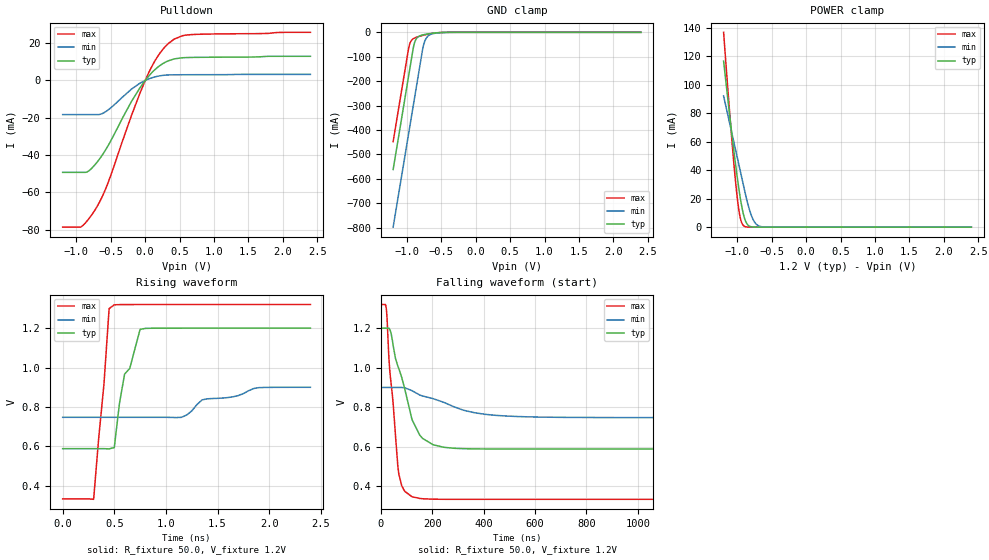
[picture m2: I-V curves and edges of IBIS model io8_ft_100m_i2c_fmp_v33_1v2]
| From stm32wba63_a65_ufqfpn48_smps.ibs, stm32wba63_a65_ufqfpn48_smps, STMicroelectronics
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[Model]   io8_ft_100m_i2c_fmp_v33_1v2
Model_type I/O_open_drain
Polarity   Non-Inverting
Enable   Active-Low
| CAP_THRESHOLD on pad IOFT is "UDTCAPC" :
| Rising=30.0% of vddiom   Falling=70.0% of vddiom
| C_comp min and max val. don't necessarily correlate with the min and max pvt
| but are the smallest and greatest pad capacitance found.
| var   typ   min   max
C_comp   2.88255pF  2.80651pF  2.98596pF
|C_comp_pulldown   2.88255pF  2.80651pF  2.98596pF
Vinl = 450.0mV
Vinh = 660.0mV
Vmeas = 600.0mV   | Reference voltage for timing measurements
Cref  = 50.0pF   | Timing specification test load capacitance value
Rref  = 1.0MOhm   | Timing specification test load resistance value
Vref  = 660.0mV   | Timing specification test load voltage
[Model Spec]
| TIME_THRESHOLD on pin ZII2CV11 is "CMOS" :
| Rising=50.0% of vdd   Falling=50.0% of vdd
Vinl 436.50000mV 331.50000mV 482.50000mV
Vinh 753.50000mV 549.50000mV 837.50000mV
| variable   typ   min   max
[Temperature Range] 25.0 140.0 -40.0
| variable   typ   min   max
[Voltage Range] 1.2V 900.0mV 1.32V
| variable   typ   min   max
[POWER Clamp Reference] 1.2V 900.0mV 1.32V
| variable   typ   min   max
[GND Clamp Reference] 0V 0V 0V
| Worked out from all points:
|   slope of the pulldown table from 0 to 0.18 V, typ, clamps not added: 25.7 ohm
|   GND clamp passes 1 mA (typ) near -0.51 V on its own axis
|   POWER clamp passes 1 mA (typ) near -0.83 V on its own axis
|   rising waveform, R_fixture 50.0, V_fixture 1.2V: 20-80 % time 165ps typ, 510ps min, 95.4ps max; typ from 0.588 V to 1.2 V
|   falling waveform, R_fixture 50.0, V_fixture 1.2V: 20-80 % time 78.7ns typ, 203ns min, 35.7ns max; typ from 1.2 V to 0.588 V
[POWER Clamp]
-1.2V     116.7mA    92.13mA    136.9mA
-1.09V    69.42mA    68.21mA    67.14mA
-1.02V    41.75mA    52.99mA    28.91mA
-990mV    30.98mA    46.47mA    16.09mA
-970mV    24.36mA    42.12mA    9.575mA
-940mV    15.59mA    35.6mA     3.485mA
-910mV    8.693mA    29.07mA    1.01mA
-860mV    2.259mA    18.59mA    104.6uA
-780mV    143.1uA    6.246mA    2.555uA
-720mV    16.22uA    1.846mA    157.1nA
-650mV    1.267uA    330.3uA    6.118nA
2.4V      0A         0A         0A
[GND Clamp]
-1.2V     -561.6mA   -797.4mA   -447.4mA
-980mV    -187.6mA   -423.4mA   -73.43mA
-960mV    -153.6mA   -389.4mA   -48.26mA
-900mV    -54.17mA   -287.4mA   -24.97mA
-870mV    -29.55mA   -236.4mA   -21.19mA
-830mV    -17.05mA   -168.4mA   -17.42mA
-760mV    -9.921mA   -54.55mA   -11.89mA
-730mV    -8.191mA   -29.78mA   -9.811mA
-690mV    -6.26mA    -14.49mA   -7.318mA
-600mV    -2.976mA   -4.315mA   -3.058mA
-380mV    -57.63uA   -251uA     -19.49uA
2.4V      872.8pA    204.8nA    349.4pA
| variable   typ   min   max
[Pullup Reference] 1.2V 900.0mV 1.32V
| variable   typ   min   max
[Pulldown Reference] 0V 0V 0V
[Pulldown]
-1.2V     -49.3mA    -18.35mA   -78.69mA
-930mV    -49.3mA    -18.35mA   -78.46mA
-830mV    -48.76mA   -18.35mA   -74.69mA
-700mV    -43.85mA   -18.35mA   -67.63mA
-540mV    -34.99mA   -15.84mA   -54.84mA
-200mV    -11.29mA   -4.684mA   -18.8mA
10mV      478.8uA    168.8uA    852.4uA
170mV     6.712mA    2.137mA    12.23mA
330mV     10.42mA    2.911mA    19.6mA
540mV     12.14mA    3.031mA    23.95mA
670mV     12.31mA    3.044mA    24.56mA
2.4V      12.92mA    3.23mA     25.77mA
[Ramp]
dV/dt_r 366.97124mV/3.19171ns 91.3824mV/10.19808ns 591.89479mV/1.63435ns
dV/dt_f 366.99016mV/76.76191ns 91.48132mV/203.22476ns 591.81479mV/35.37147ns
R_load = 50.0
| Removed startup time: 0s 0s 0s  .
| Removed end time: 2.4ns.
[Rising Waveform]
R_fixture   = 50.0
V_fixture   = 1.2V
V_fixture_min = 900.0mV
V_fixture_max = 1.32V
0s        588.3mV    747.5mV    333.6mV
300ps     588.4mV    747.5mV    331.3mV
400ps     588.4mV    747.5mV    915.6mV
450ps     587.4mV    747.5mV    1.299V
500ps     593.9mV    747.5mV    1.318V
600ps     967mV      747.5mV    1.32V
650ps     995.5mV    747.5mV    1.32V
750ps     1.194V     747.5mV    1.32V
1.85ns    1.2V       893.6mV    1.32V
2.4ns     1.2V       899.8mV    1.32V
| Removed startup time: 0s 0s 0s  .
| Removed end time: 1.99825us.
[Falling Waveform]
R_fixture   = 50.0
V_fixture   = 1.2V
V_fixture_min = 900.0mV
V_fixture_max = 1.32V
0s        1.2V       900mV      1.32V
21.75ns   1.2V       900mV      1.297V
35ns      1.194V     900mV      988.3mV
70.75ns   993.8mV    900mV      459.2mV
93ns      894.8mV    898.7mV    374.6mV
122.2ns   735.8mV    883.3mV    346.7mV
163.3ns   641.8mV    856.7mV    336.6mV
285.5ns   592.1mV    801.9mV    333.7mV
571ns     588.4mV    751.3mV    333.6mV
1.998us   588.3mV    747.5mV    333.6mV
